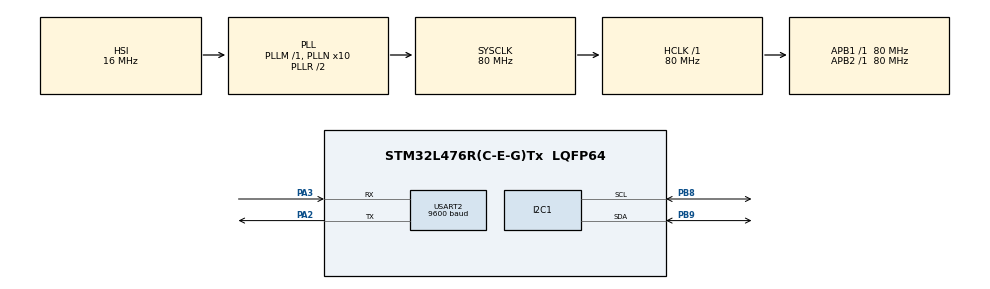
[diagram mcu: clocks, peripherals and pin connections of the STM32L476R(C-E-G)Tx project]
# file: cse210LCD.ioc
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I2C1.Timing=0x10D19CE4
Mcu.Family=STM32L4
Mcu.Name=STM32L476R(C-E-G)Tx
Mcu.Package=LQFP64
NVIC.PriorityGroup=NVIC_PRIORITYGROUP_4
PA13\ (JTMS-SWDIO).GPIO_Label=TMS
PA13\ (JTMS-SWDIO).Mode=Serial_Wire
PA13\ (JTMS-SWDIO).Signal=SYS_JTMS-SWDIO
PA14\ (JTCK-SWCLK).GPIO_Label=TCK
PA14\ (JTCK-SWCLK).Mode=Serial_Wire
PA14\ (JTCK-SWCLK).Signal=SYS_JTCK-SWCLK
PA2.Mode=Asynchronous
PA2.Signal=USART2_TX
PA3.Mode=Asynchronous
PA3.Signal=USART2_RX
PB3\ (JTDO-TRACESWO).GPIO_Label=SWO
PB3\ (JTDO-TRACESWO).Signal=SYS_JTDO-SWO
PB8.GPIO_Pu=GPIO_PULLUP
PB8.Mode=I2C
PB8.Signal=I2C1_SCL
PB9.GPIO_Pu=GPIO_PULLUP
PB9.Mode=I2C
PB9.Signal=I2C1_SDA
PC14-OSC32_IN\ (PC14).Mode=LSE-External-Oscillator
PC14-OSC32_IN\ (PC14).Signal=RCC_OSC32_IN
PC15-OSC32_OUT\ (PC15).Mode=LSE-External-Oscillator
PC15-OSC32_OUT\ (PC15).Signal=RCC_OSC32_OUT
PH0-OSC_IN\ (PH0).Signal=RCC_OSC_IN
PH1-OSC_OUT\ (PH1).Signal=RCC_OSC_OUT
ProjectManager.HeapSize=0x200
ProjectManager.StackSize=0x400
ProjectManager.TargetToolchain=STM32CubeIDE
RCC.ADCFreq_Value=64000000
RCC.AHBFreq_Value=80000000
RCC.APB1Freq_Value=80000000
RCC.APB1TimFreq_Value=80000000
RCC.APB2Freq_Value=80000000
RCC.APB2TimFreq_Value=80000000
RCC.CortexFreq_Value=80000000
RCC.HCLKFreq_Value=80000000
RCC.HSE_VALUE=8000000
RCC.HSI_VALUE=16000000
RCC.MSI_VALUE=4000000
RCC.PLLN=10
RCC.PLLSourceVirtual=RCC_PLLSOURCE_HSI
RCC.PREFETCH_ENABLE=1
RCC.SYSCLKFreq_VALUE=80000000
RCC.SYSCLKSource=RCC_SYSCLKSOURCE_PLLCLK
RCC.USBFreq_Value=64000000
RCC.VCOOutputFreq_Value=160000000
USART2.BaudRate=9600
USART2.VirtualMode-Asynchronous=VM_ASYNC
board=NUCLEO-L476RG

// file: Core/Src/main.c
/* USER CODE BEGIN Header */
/**
  ******************************************************************************
  * @file           : main.c
  * @brief          : Main program body
  ******************************************************************************
  * @attention
  *
  * Copyright (c) 2026 STMicroelectronics.
  * All rights reserved.
  *
  * This software is licensed under terms that can be found in the LICENSE file
  * in the root directory of this software component.
  * If no LICENSE file comes with this software, it is provided AS-IS.
  *
  ******************************************************************************
  */
/* USER CODE END Header */
#include "main.h"

/* USER CODE BEGIN Includes */
# include <string.h>
/* USER CODE END Includes */

/* USER CODE BEGIN PM */
// 1602 I2C address
#define I2C_ADDR 0x27 // I2C address of the PCF8574
// 1602 dimensions
#define LCD_ROWS 2 // Number of rows on the LCD
#define LCD_COLS 16 // Number of columns on the LCD
// 1602 message bit numbers
#define DC_BIT 0 // Data/Command bit (register select bit)
#define EN_BIT 2 // Enable bit
#define BL_BIT 3 // Backlight bit
#define D4_BIT 4 // Data 4 bit
#define D5_BIT 5 // Data 5 bit
#define D6_BIT 6 // Data 6 bit
#define D7_BIT 7 // Data 7 bit
/* USER CODE END PM */

I2C_HandleTypeDef hi2c1;

UART_HandleTypeDef huart2;

void SystemClock_Config(void);
static void MX_GPIO_Init(void);
static void MX_I2C1_Init(void);
static void MX_USART2_UART_Init(void);
/* USER CODE BEGIN PFP */
void CharLCD_Write_Nibble (uint8_t nibble, uint8_t dc);
void CharLCD_Send_Cmd(uint8_t cmd);
void CharLCD_Send_Data(uint8_t data);
void CharLCD_Init();
void CharLCD_Write_String(char *str);
void CharLCD_Set_Cursor(uint8_t row, uint8_t column);
void CharLCD_Clear(void);
/* USER CODE END PFP */

int main(void)
{

  /* MCU Configuration--------------------------------------------------------*/

  /* Reset of all peripherals, Initializes the Flash interface and the Systick. */
  HAL_Init();

  /* Configure the system clock */
  SystemClock_Config();

  /* Initialize all configured peripherals */
  MX_GPIO_Init();
  MX_I2C1_Init();
  MX_USART2_UART_Init();
  /* USER CODE BEGIN 2 */
  CharLCD_Init(); // Initialize the LCD

//  CharLCD_Set_Cursor(0,0); // Set cursor to row 0, column 0
//  CharLCD_Write_String("Hello, ECEN 260!");
//  CharLCD_Set_Cursor(1,0); // Set cursor to row 1, column 0
//  CharLCD_Write_String("Jesus loves you!");
  /* USER CODE END 2 */

  /* Infinite loop */
  /* USER CODE BEGIN WHILE */
  while (1)
  {
	  uint8_t rx_buffer[33];

	  if (HAL_UART_Receive(&huart2, rx_buffer, 32, HAL_MAX_DELAY) == HAL_OK)
	    {
	      rx_buffer[32] = '\0';
	      char line1[17];
	      char line2[17];

	      strncpy(line1, (char*)rx_buffer, 16);
	      line1[16] = '\0';
	      strncpy(line2, (char*)rx_buffer + 16, 16);
	      line2[16] = '\0';

	      CharLCD_Clear();
	      CharLCD_Set_Cursor(0, 0);
	      CharLCD_Write_String(line1);
	      CharLCD_Set_Cursor(1, 0);
	      CharLCD_Write_String(line2);
	    }
    /* USER CODE END WHILE */

  }
}

void SystemClock_Config(void)
{
  RCC_OscInitTypeDef RCC_OscInitStruct = {0};
  RCC_ClkInitTypeDef RCC_ClkInitStruct = {0};

  /** Configure the main internal regulator output voltage
  */
  if (HAL_PWREx_ControlVoltageScaling(PWR_REGULATOR_VOLTAGE_SCALE1) != HAL_OK)
  {
    Error_Handler();
  }

  /** Initializes the RCC Oscillators according to the specified parameters
  * in the RCC_OscInitTypeDef structure.
  */
  RCC_OscInitStruct.OscillatorType = RCC_OSCILLATORTYPE_HSI;
  RCC_OscInitStruct.HSIState = RCC_HSI_ON;
  RCC_OscInitStruct.HSICalibrationValue = RCC_HSICALIBRATION_DEFAULT;
  RCC_OscInitStruct.PLL.PLLState = RCC_PLL_ON;
  RCC_OscInitStruct.PLL.PLLSource = RCC_PLLSOURCE_HSI;
  RCC_OscInitStruct.PLL.PLLM = 1;
  RCC_OscInitStruct.PLL.PLLN = 10;
  RCC_OscInitStruct.PLL.PLLP = RCC_PLLP_DIV7;
  RCC_OscInitStruct.PLL.PLLQ = RCC_PLLQ_DIV2;
  RCC_OscInitStruct.PLL.PLLR = RCC_PLLR_DIV2;
  if (HAL_RCC_OscConfig(&RCC_OscInitStruct) != HAL_OK)
  {
    Error_Handler();
  }

  /** Initializes the CPU, AHB and APB buses clocks
  */
  RCC_ClkInitStruct.ClockType = RCC_CLOCKTYPE_HCLK|RCC_CLOCKTYPE_SYSCLK
                              |RCC_CLOCKTYPE_PCLK1|RCC_CLOCKTYPE_PCLK2;
  RCC_ClkInitStruct.SYSCLKSource = RCC_SYSCLKSOURCE_PLLCLK;
  RCC_ClkInitStruct.AHBCLKDivider = RCC_SYSCLK_DIV1;
  RCC_ClkInitStruct.APB1CLKDivider = RCC_HCLK_DIV1;
  RCC_ClkInitStruct.APB2CLKDivider = RCC_HCLK_DIV1;

  if (HAL_RCC_ClockConfig(&RCC_ClkInitStruct, FLASH_LATENCY_4) != HAL_OK)
  {
    Error_Handler();
  }
}

static void MX_I2C1_Init(void)
{

  hi2c1.Instance = I2C1;
  hi2c1.Init.Timing = 0x10D19CE4;
  hi2c1.Init.OwnAddress1 = 0;
  hi2c1.Init.AddressingMode = I2C_ADDRESSINGMODE_7BIT;
  hi2c1.Init.DualAddressMode = I2C_DUALADDRESS_DISABLE;
  hi2c1.Init.OwnAddress2 = 0;
  hi2c1.Init.OwnAddress2Masks = I2C_OA2_NOMASK;
  hi2c1.Init.GeneralCallMode = I2C_GENERALCALL_DISABLE;
  hi2c1.Init.NoStretchMode = I2C_NOSTRETCH_DISABLE;
  if (HAL_I2C_Init(&hi2c1) != HAL_OK)
  {
    Error_Handler();
  }

  /** Configure Analogue filter
  */
  if (HAL_I2CEx_ConfigAnalogFilter(&hi2c1, I2C_ANALOGFILTER_ENABLE) != HAL_OK)
  {
    Error_Handler();
  }

  /** Configure Digital filter
  */
  if (HAL_I2CEx_ConfigDigitalFilter(&hi2c1, 0) != HAL_OK)
  {
    Error_Handler();
  }

}

static void MX_USART2_UART_Init(void)
{

  huart2.Instance = USART2;
  huart2.Init.BaudRate = 9600;
  huart2.Init.WordLength = UART_WORDLENGTH_8B;
  huart2.Init.StopBits = UART_STOPBITS_1;
  huart2.Init.Parity = UART_PARITY_NONE;
  huart2.Init.Mode = UART_MODE_TX_RX;
  huart2.Init.HwFlowCtl = UART_HWCONTROL_NONE;
  huart2.Init.OverSampling = UART_OVERSAMPLING_16;
  huart2.Init.OneBitSampling = UART_ONE_BIT_SAMPLE_DISABLE;
  huart2.AdvancedInit.AdvFeatureInit = UART_ADVFEATURE_NO_INIT;
  if (HAL_UART_Init(&huart2) != HAL_OK)
  {
    Error_Handler();
  }

}

static void MX_GPIO_Init(void)
{

  /* GPIO Ports Clock Enable */
  __HAL_RCC_GPIOC_CLK_ENABLE();
  __HAL_RCC_GPIOH_CLK_ENABLE();
  __HAL_RCC_GPIOA_CLK_ENABLE();
  __HAL_RCC_GPIOB_CLK_ENABLE();

}

/* USER CODE BEGIN 4 */

/**
 * @brief Write a 4-bit nibble to the LCD via I2C
 * @param nibble: 4-bit data to send (lower 4 bits)
 * @param dc: data/command (1 = data, 0 = command)
 * @retval None
 */
void CharLCD_Write_Nibble(uint8_t nibble, uint8_t dc) {
 uint8_t data = nibble << D4_BIT; // Shift nibble to D4-D7 position
 data |= dc << DC_BIT; // Set DC bit for data/command selection
 data |= 1 << BL_BIT; // Include backlight state in data
 data |= 1 << EN_BIT; // Set enable bit high
 HAL_I2C_Master_Transmit(&hi2c1, I2C_ADDR << 1, &data, 1, 100); // Send data with EN high
 HAL_Delay(1); // Wait for data setup
 data &= ~(1 << EN_BIT); // Clear enable bit (falling edge triggers LCD)
 HAL_I2C_Master_Transmit(&hi2c1, I2C_ADDR << 1, &data, 1, 100); // Send data with EN low
}

/**
 * @brief Send command to LCD
 * @param cmd: 8-bit command to send to LCD controller
 * @retval None
 */
void CharLCD_Send_Cmd(uint8_t cmd) {
 uint8_t upper_nibble = cmd >> 4; // Extract upper 4 bits
 uint8_t lower_nibble = cmd & 0x0F; // Extract lower 4 bits
 CharLCD_Write_Nibble(upper_nibble, 0); // Send upper nibble (DC=0 for command)
 CharLCD_Write_Nibble(lower_nibble, 0); // Send lower nibble (DC=0 for command)
 if (cmd == 0x01 || cmd == 0x02) { // Clear display or return home commands
 HAL_Delay(2); // These commands need extra time
 }
}

/**
 * @brief Send data (character) to LCD
 * @param data: 8-bit character data to display
 * @retval None
 */
void CharLCD_Send_Data(uint8_t data) {
 uint8_t upper_nibble = data >> 4; // Extract upper 4 bits
 uint8_t lower_nibble = data & 0x0F; // Extract lower 4 bits
 CharLCD_Write_Nibble(upper_nibble, 1); // Send upper nibble (DC=1 for data)
 CharLCD_Write_Nibble(lower_nibble, 1); // Send lower nibble (DC=1 for data)
}

/**
 * @brief Initialize LCD in 4-bit mode via I2C
 * @param None
 * @retval None
 */
void CharLCD_Init() {
 HAL_Delay(50); // Wait for LCD power-on reset (>40ms)
 CharLCD_Write_Nibble(0x03, 0); // Function set: 8-bit mode (first attempt)
 HAL_Delay(5); // Wait >4.1ms
 CharLCD_Write_Nibble(0x03, 0); // Function set: 8-bit mode (second attempt)
 HAL_Delay(1); // Wait >100us
 CharLCD_Write_Nibble(0x03, 0); // Function set: 8-bit mode (third attempt)
 HAL_Delay(1); // Wait >100us
 CharLCD_Write_Nibble(0x02, 0); // Function set: switch to 4-bit mode
 CharLCD_Send_Cmd(0x28); // Function set: 4-bit, 2 lines, 5x8 font
 CharLCD_Send_Cmd(0x0C); // Display control: display on/cursor off/blink off
 CharLCD_Send_Cmd(0x06); // Entry mode: increment cursor, no shift
 CharLCD_Send_Cmd(0x01); // Clear display
 HAL_Delay(2); // Wait for clear display command
}

/**
 * @brief Write string to LCD at current cursor position
 * @param str: Pointer to null-terminated string
 * @retval None
 */
void CharLCD_Write_String(char *str) {
 while (*str) { // Loop until null terminator
 CharLCD_Send_Data(*str++); // Send each character and increment pointer
 }
}

 /**
  * @brief Set cursor position on LCD
  * @param row: Row number (0 or 1 for 2-line display)
  * @param column: Column number (0 to display width - 1)
  * @retval None
  */
 void CharLCD_Set_Cursor(uint8_t row, uint8_t column) {
  uint8_t address;
  switch (row) {
  case 0:
  address = 0x00; break; // First line starts at address 0x00
  case 1:
  address = 0x40; break; // Second line starts at address 0x40
  default:
  address = 0x00; // Default to first line for invalid row
  }
  address += column; // Add column offset
  CharLCD_Send_Cmd(0x80 | address); // Set DDRAM address command (0x80 + address)
 }

 /**
  * @brief Clear LCD display and return cursor to home position
  * @param None
  * @retval None
  */
 void CharLCD_Clear(void) {
  CharLCD_Send_Cmd(0x01); // Clear display command
  HAL_Delay(2); // Wait for command execution
 }

/* USER CODE END 4 */

void Error_Handler(void)
{
  __disable_irq();
  while (1)
  {
  }
}
